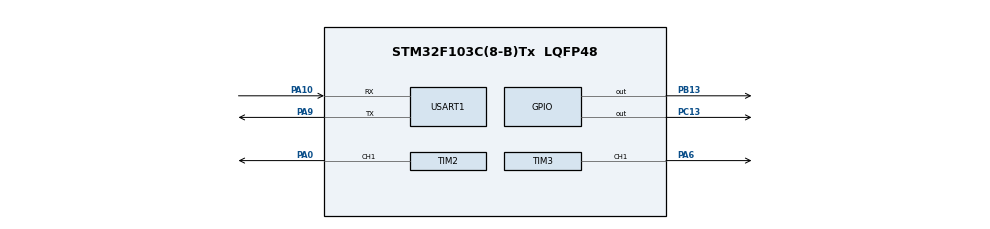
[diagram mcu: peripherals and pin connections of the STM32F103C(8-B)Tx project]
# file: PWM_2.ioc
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Dma.Request0=USART1_RX
Dma.USART1_RX.0.Direction=DMA_PERIPH_TO_MEMORY
Dma.USART1_RX.0.Instance=DMA1_Channel5
Dma.USART1_RX.0.MemDataAlignment=DMA_MDATAALIGN_BYTE
Dma.USART1_RX.0.MemInc=DMA_MINC_ENABLE
Dma.USART1_RX.0.Mode=DMA_CIRCULAR
Dma.USART1_RX.0.PeriphDataAlignment=DMA_PDATAALIGN_BYTE
Dma.USART1_RX.0.PeriphInc=DMA_PINC_DISABLE
Dma.USART1_RX.0.Priority=DMA_PRIORITY_LOW
Mcu.Family=STM32F1
Mcu.Name=STM32F103C(8-B)Tx
Mcu.Package=LQFP48
NVIC.DMA1_Channel5_IRQn=true\:5\:0\:true\:false\:true\:false\:true
NVIC.PriorityGroup=NVIC_PRIORITYGROUP_4
PA0-WKUP.Signal=S_TIM2_CH1_ETR
PA10.Mode=Asynchronous
PA10.Signal=USART1_RX
PA13.Mode=Serial_Wire
PA13.Signal=SYS_JTMS-SWDIO
PA14.Mode=Serial_Wire
PA14.Signal=SYS_JTCK-SWCLK
PA6.Signal=S_TIM3_CH1
PA9.Mode=Asynchronous
PA9.Signal=USART1_TX
PB13.Signal=GPIO_Output
PC13-TAMPER-RTC.Signal=GPIO_Output
PD0-OSC_IN.Mode=HSE-External-Oscillator
PD0-OSC_IN.Signal=RCC_OSC_IN
PD1-OSC_OUT.Mode=HSE-External-Oscillator
PD1-OSC_OUT.Signal=RCC_OSC_OUT
ProjectManager.HeapSize=0x200
ProjectManager.StackSize=0x400
ProjectManager.TargetToolchain=MDK-ARM V5.32
RCC.APB1Freq_Value=8000000
RCC.APB2Freq_Value=8000000
RCC.SYSCLKSource=RCC_SYSCLKSOURCE_PLLCLK
SH.S_TIM2_CH1_ETR.0=TIM2_CH1,PWM Generation1 CH1
SH.S_TIM3_CH1.0=TIM3_CH1,PWM Generation1 CH1
TIM2.Channel-PWM\ Generation1\ CH1=TIM_CHANNEL_1
TIM2.Period=999
TIM2.Prescaler=7
TIM3.Channel-PWM\ Generation1\ CH1=TIM_CHANNEL_1
TIM3.Period=999
TIM3.Prescaler=17
USART1.VirtualMode=VM_ASYNC
VP_TIM3_VS_ClockSourceINT.Mode=Internal
board=custom

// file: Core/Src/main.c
/* USER CODE BEGIN Header */
/**
  ******************************************************************************
  * @file           : main.c
  * @brief          : Main program body
  ******************************************************************************
  * @attention
  *
  * Copyright (c) 2023 STMicroelectronics.
  * All rights reserved.
  *
  * This software is licensed under terms that can be found in the LICENSE file
  * in the root directory of this software component.
  * If no LICENSE file comes with this software, it is provided AS-IS.
  *
  ******************************************************************************
  */
/* USER CODE END Header */
#include "main.h"
#include "dma.h"
#include "tim.h"
#include "usart.h"
#include "gpio.h"

/* USER CODE BEGIN Includes */
#include "stm32f1xx_hal.h"
/* USER CODE END Includes */

/* USER CODE BEGIN PTD */
// Khai báo bi?n và c?u trúc GPIO
GPIO_InitTypeDef GPIO_InitStruct;
/* USER CODE END PTD */

/* USER CODE BEGIN PV */
uint32_t var = 0;
uint32_t temp1 = 0;
uint32_t temp2 = 0;
uint8_t ok = 0;
int PWM = 0;
int count = 0;
int count_2 = 0;
uint32_t PWM_Receive = 0;
uint32_t PWM_Select = 0;
int PWM_Temp = 0;
uint8_t rxBuffer[4]; //rx
uint8_t txBuffer[5]; //tx
/* USER CODE END PV */

void SystemClock_Config(void);
/* USER CODE BEGIN PFP */
//void Read_sensor(void);
void ConvertIntToByte(uint32_t value);
void ConvertByteToInt(uint8_t value[4]);
void HAL_Delay10us(uint32_t delay);
/* USER CODE END PFP */

int main(void)
{

  /* MCU Configuration--------------------------------------------------------*/

  /* Reset of all peripherals, Initializes the Flash interface and the Systick. */
  HAL_Init();

  /* USER CODE BEGIN Init */
  __HAL_RCC_GPIOA_CLK_ENABLE(); // B?t clock cho GPIOA
  GPIO_InitStruct.Pin = GPIO_PIN_0;           // Ch?n chân PA6
  GPIO_InitStruct.Mode = GPIO_MODE_INPUT;    // Ch?n ch? d? d?u vào
  GPIO_InitStruct.Pull = GPIO_NOPULL;       // Không kích ho?t di?n tr? kéo lên/kép xu?ng
  HAL_GPIO_Init(GPIOA, &GPIO_InitStruct);   // C?u hình GPIOA theo dúng thi?t l?p trên
  /* USER CODE END Init */

  /* Configure the system clock */
  SystemClock_Config();

  /* Initialize all configured peripherals */
  MX_GPIO_Init();
  MX_DMA_Init();
  MX_TIM3_Init();
  MX_USART1_UART_Init();
  MX_TIM2_Init();
  /* USER CODE BEGIN 2 */
HAL_TIM_PWM_Start(&htim3,TIM_CHANNEL_1);
HAL_TIM_PWM_Start(&htim2,TIM_CHANNEL_1);
uint8_t data[] = "HelloHieu";
HAL_UART_Receive_DMA(&huart1,rxBuffer, sizeof(rxBuffer));
  /* USER CODE END 2 */

  /* Infinite loop */
  while (1)
  {

    /* USER CODE BEGIN 3 */
		ConvertByteToInt(rxBuffer);
		 HAL_GPIO_WritePin(GPIOC, GPIO_PIN_13, GPIO_PIN_SET);
    HAL_GPIO_WritePin(GPIOB, GPIO_PIN_13, GPIO_PIN_RESET);

//		 uint8_t i;
//    for (i = 0; i < 10; i++) {
//        if (i < PWM_Select)
//					{
//            PWM_Temp = 750;
//					__HAL_TIM_SetCompare(&htim3,TIM_CHANNEL_1,PWM_Temp);
//        } else
//				{
//          PWM_Temp = 400;
//					__HAL_TIM_SetCompare(&htim3,TIM_CHANNEL_1,PWM_Temp);
//        }
//        HAL_Delay(0.1); // Ð? tr? gi?a các xung là 10 us, tuong ?ng v?i t?n s? xung 1 kHz
//			}

		//code new
		__HAL_TIM_SetCompare(&htim2,TIM_CHANNEL_1,PWM_Select);
		// Ð?c giá tr? c?a chân PA0
    GPIO_PinState gpioState = HAL_GPIO_ReadPin(GPIOA, GPIO_PIN_0);

    // Ki?m tra tr?ng thái c?a chân PA0
    if (gpioState == GPIO_PIN_RESET)
    {
      // Tr?ng thái LOW
         PWM_Temp = 400;
					__HAL_TIM_SetCompare(&htim3,TIM_CHANNEL_1,PWM_Temp);
    }
    else
    {
      // Tr?ng thái HIGH
        PWM_Temp = 750;
     	__HAL_TIM_SetCompare(&htim3,TIM_CHANNEL_1,PWM_Temp);
    }

  }
  /* USER CODE END 3 */
}

void SystemClock_Config(void)
{
  RCC_OscInitTypeDef RCC_OscInitStruct = {0};
  RCC_ClkInitTypeDef RCC_ClkInitStruct = {0};

  /** Initializes the RCC Oscillators according to the specified parameters
  * in the RCC_OscInitTypeDef structure.
  */
  RCC_OscInitStruct.OscillatorType = RCC_OSCILLATORTYPE_HSI;
  RCC_OscInitStruct.HSIState = RCC_HSI_ON;
  RCC_OscInitStruct.HSICalibrationValue = RCC_HSICALIBRATION_DEFAULT;
  RCC_OscInitStruct.PLL.PLLState = RCC_PLL_ON;
  RCC_OscInitStruct.PLL.PLLSource = RCC_PLLSOURCE_HSI_DIV2;
  RCC_OscInitStruct.PLL.PLLMUL = RCC_PLL_MUL2;
  if (HAL_RCC_OscConfig(&RCC_OscInitStruct) != HAL_OK)
  {
    Error_Handler();
  }
  /** Initializes the CPU, AHB and APB buses clocks
  */
  RCC_ClkInitStruct.ClockType = RCC_CLOCKTYPE_HCLK|RCC_CLOCKTYPE_SYSCLK
                              |RCC_CLOCKTYPE_PCLK1|RCC_CLOCKTYPE_PCLK2;
  RCC_ClkInitStruct.SYSCLKSource = RCC_SYSCLKSOURCE_PLLCLK;
  RCC_ClkInitStruct.AHBCLKDivider = RCC_SYSCLK_DIV1;
  RCC_ClkInitStruct.APB1CLKDivider = RCC_HCLK_DIV1;
  RCC_ClkInitStruct.APB2CLKDivider = RCC_HCLK_DIV1;

  if (HAL_RCC_ClockConfig(&RCC_ClkInitStruct, FLASH_LATENCY_0) != HAL_OK)
  {
    Error_Handler();
  }
}

/* USER CODE BEGIN 4 */
//void Read_sensor(void)
//{
//
//		HAL_ADC_Start(&hadc1);
//		HAL_Delay(100);
//		var = HAL_ADC_GetValue(&hadc1);
////	  temp1 = var*3.3/1023;
////	  temp2 = temp1*50000-25000;
//		HAL_ADC_Stop(&hadc1);
//}

void ConvertIntToByte(uint32_t value)
{ int value_1 = (int)value;
	txBuffer[4] = value_1%10 + 0x30;
	value_1 = value_1/10;
	txBuffer[3] = value_1%10 + 0x30;
	value_1 = value_1/10;
	txBuffer[2] = value_1%10 + 0x30;
	value_1 = value_1/10;
	txBuffer[1] = value_1%10 + 0x30;
	value_1 = value_1/10;
	txBuffer[0] = value_1 + 0x30;

}
void ConvertByteToInt(uint8_t value[3])
{
	if (value[3] == 0x0A)
	{

				 PWM_Receive = ( value[0] - 0x30) * 100;
			   PWM_Receive = PWM_Receive + ( value[1] - 0x30) * 10;
	    		PWM_Receive = PWM_Receive + ( value[2] - 0x30) * 1;
//			PWM_Receive = PWM_Receive + ( value[3] - 0x30) * 1;
		   PWM_Select = PWM_Receive;
}
	else
	{
		     PWM_Receive = 0;
         PWM_Select = 100;
	}
}

void HAL_Delay10us(uint32_t delay) {
    uint32_t tickstart = HAL_GetTick();
    uint32_t wait = delay * (HAL_RCC_GetSysClockFreq() / 10000000);
    while ((HAL_GetTick() - tickstart) < wait) {
    }
}
/* USER CODE END 4 */

void Error_Handler(void)
{
  __disable_irq();
  while (1)
  {
  }
}
